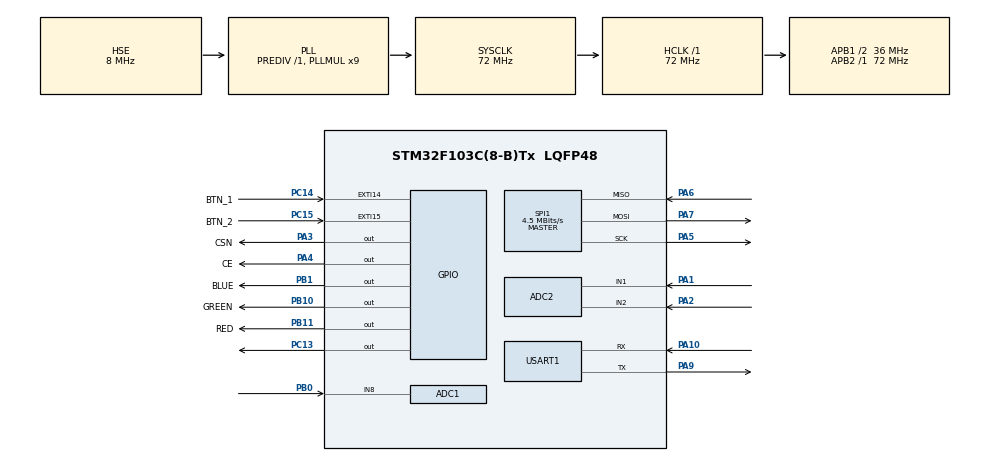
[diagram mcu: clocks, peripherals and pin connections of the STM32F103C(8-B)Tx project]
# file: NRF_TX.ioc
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ADC1.Channel-0\#ChannelRegularConversion=ADC_CHANNEL_8
ADC1.ContinuousConvMode=ENABLE
ADC1.NbrOfConversionFlag=1
ADC1.Rank-0\#ChannelRegularConversion=1
ADC1.SamplingTime-0\#ChannelRegularConversion=ADC_SAMPLETIME_239CYCLES_5
ADC1.master=1
ADC2.Channel-3\#ChannelRegularConversion=ADC_CHANNEL_1
ADC2.ContinuousConvMode=ENABLE
ADC2.NbrOfConversionFlag=1
ADC2.Rank-3\#ChannelRegularConversion=1
ADC2.SamplingTime-3\#ChannelRegularConversion=ADC_SAMPLETIME_1CYCLE_5
Mcu.Family=STM32F1
Mcu.Name=STM32F103C(8-B)Tx
Mcu.Package=LQFP48
NVIC.EXTI15_10_IRQn=true\:0\:0\:false\:false\:true\:true\:true\:true
NVIC.PriorityGroup=NVIC_PRIORITYGROUP_4
PA1.Signal=ADCx_IN1
PA10.Mode=Asynchronous
PA10.Signal=USART1_RX
PA13.Mode=Serial_Wire
PA13.Signal=SYS_JTMS-SWDIO
PA14.Mode=Serial_Wire
PA14.Signal=SYS_JTCK-SWCLK
PA2.Signal=ADCx_IN2
PA3.GPIO_Label=CSN
PA3.Signal=GPIO_Output
PA4.GPIO_Label=CE
PA4.Signal=GPIO_Output
PA5.Mode=Full_Duplex_Master
PA5.Signal=SPI1_SCK
PA6.Mode=Full_Duplex_Master
PA6.Signal=SPI1_MISO
PA7.Mode=Full_Duplex_Master
PA7.Signal=SPI1_MOSI
PA9.Mode=Asynchronous
PA9.Signal=USART1_TX
PB0.Signal=ADCx_IN8
PB1.GPIO_Label=BLUE
PB1.Signal=GPIO_Output
PB10.GPIO_Label=GREEN
PB10.Signal=GPIO_Output
PB11.GPIO_Label=RED
PB11.Signal=GPIO_Output
PC13-TAMPER-RTC.PinState=GPIO_PIN_SET
PC13-TAMPER-RTC.Signal=GPIO_Output
PC14-OSC32_IN.GPIO_Label=BTN_1
PC14-OSC32_IN.GPIO_PuPd=GPIO_PULLDOWN
PC14-OSC32_IN.Signal=GPXTI14
PC15-OSC32_OUT.GPIO_Label=BTN_2
PC15-OSC32_OUT.GPIO_PuPd=GPIO_PULLDOWN
PC15-OSC32_OUT.Signal=GPXTI15
PD0-OSC_IN.Mode=HSE-External-Oscillator
PD0-OSC_IN.Signal=RCC_OSC_IN
PD1-OSC_OUT.Mode=HSE-External-Oscillator
PD1-OSC_OUT.Signal=RCC_OSC_OUT
ProjectManager.HeapSize=0x200
ProjectManager.StackSize=0x400
ProjectManager.TargetToolchain=STM32CubeIDE
RCC.ADCPresc=RCC_ADCPCLK2_DIV6
RCC.AHBFreq_Value=72000000
RCC.APB1CLKDivider=RCC_HCLK_DIV2
RCC.APB1Freq_Value=36000000
RCC.APB1TimFreq_Value=72000000
RCC.APB2Freq_Value=72000000
RCC.APB2TimFreq_Value=72000000
RCC.HCLKFreq_Value=72000000
RCC.PLLMUL=RCC_PLL_MUL9
RCC.PLLSourceVirtual=RCC_PLLSOURCE_HSE
RCC.SYSCLKFreq_VALUE=72000000
RCC.SYSCLKSource=RCC_SYSCLKSOURCE_PLLCLK
RCC.USBFreq_Value=72000000
SH.ADCx_IN1.0=ADC2_IN1,IN1
SH.ADCx_IN2.0=ADC2_IN2,IN2
SH.ADCx_IN8.0=ADC1_IN8,IN8
SPI1.BaudRatePrescaler=SPI_BAUDRATEPRESCALER_16
SPI1.CalculateBaudRate=4.5 MBits/s
SPI1.Direction=SPI_DIRECTION_2LINES
SPI1.Mode=SPI_MODE_MASTER
SPI1.VirtualType=VM_MASTER
USART1.VirtualMode=VM_ASYNC
board=custom

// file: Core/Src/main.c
/* USER CODE BEGIN Header */
/**
  ******************************************************************************
  * @file           : main.c
  * @brief          : Main program body
  ******************************************************************************
  * @attention
  *
  * Copyright (c) 2023 STMicroelectronics.
  * All rights reserved.
  *
  * This software is licensed under terms that can be found in the LICENSE file
  * in the root directory of this software component.
  * If no LICENSE file comes with this software, it is provided AS-IS.
  *
  ******************************************************************************
  */
/* USER CODE END Header */
#include "main.h"

/* USER CODE BEGIN Includes */
#include "NRF24L01.h"
#include "string.h"
#include <stdio.h>
/* USER CODE END Includes */

ADC_HandleTypeDef hadc1;
ADC_HandleTypeDef hadc2;

SPI_HandleTypeDef hspi1;

UART_HandleTypeDef huart1;

/* USER CODE BEGIN PV */

unsigned short joystick_x;

char BT_Data[32] = " ";

unsigned short JOY_X, JOY_Y;
ADC_ChannelConfTypeDef sConfigPrivate = {0};

/* USER CODE END PV */

void SystemClock_Config(void);
static void MX_GPIO_Init(void);
static void MX_SPI1_Init(void);
static void MX_ADC1_Init(void);
static void MX_USART1_UART_Init(void);
static void MX_ADC2_Init(void);

/* USER CODE BEGIN 0 */

void Read_ADC()
{
	sConfigPrivate.Rank = ADC_REGULAR_RANK_1;
	sConfigPrivate.SamplingTime = ADC_SAMPLETIME_1CYCLE_5;

	sConfigPrivate.Channel = ADC_CHANNEL_1;
	HAL_ADC_ConfigChannel(&hadc2, &sConfigPrivate);
	HAL_ADC_Start(&hadc2);
	HAL_ADC_PollForConversion(&hadc2, 100);
	JOY_X = HAL_ADC_GetValue(&hadc2);
	HAL_ADC_Stop(&hadc2);

	sConfigPrivate.Channel = ADC_CHANNEL_2;
	HAL_ADC_ConfigChannel(&hadc2, &sConfigPrivate);
	HAL_ADC_Start(&hadc2);
	HAL_ADC_PollForConversion(&hadc2, 100);
	JOY_Y = HAL_ADC_GetValue(&hadc2);
	HAL_ADC_Stop(&hadc2);

	//sprintf(BT_Data, "\f %d \n %d \n\r",JOY_X,JOY_Y);
	//HAL_UART_Transmit(&huart1, (uint8_t*)BT_Data, sizeof(BT_Data), 100);
}

void HAL_GPIO_EXTI_Callback(uint16_t GPIO_Pin)
{
	if(GPIO_Pin == BTN_1_Pin)
	{
		HAL_GPIO_WritePin(RED_GPIO_Port, RED_Pin, GPIO_PIN_RESET);
		HAL_GPIO_WritePin(GREEN_GPIO_Port, GREEN_Pin, GPIO_PIN_SET);

	}

	if(GPIO_Pin == BTN_2_Pin)
	{
		HAL_GPIO_WritePin(GREEN_GPIO_Port, GREEN_Pin, GPIO_PIN_RESET);
		HAL_GPIO_WritePin(RED_GPIO_Port, RED_Pin, GPIO_PIN_SET);

	}

}

//uint8_t RxAddress[] = {0x00,0xDD,0xCC,0xBB,0xAA};
//uint8_t RxData[32];

uint8_t data[50];
uint8_t TxAddress[] = {0xEE,0xDD,0xCC,0xBB,0xAA};
uint8_t TxData[] = "Merhaba,12345678\n";
uint8_t YasarData[] = "merhabayasardata\n";

//************************************************//
uint8_t PotData[10];
uint16_t adcValue = 250;

void adctodata()
{
	//sprintf(PotData, "%d", adcValue);

	memcpy(PotData, &adcValue, sizeof(adcValue));
}

//***********************************************//

/* USER CODE END 0 */

int main(void)
{

  /* MCU Configuration--------------------------------------------------------*/

  /* Reset of all peripherals, Initializes the Flash interface and the Systick. */
  HAL_Init();

  /* Configure the system clock */
  SystemClock_Config();

  /* Initialize all configured peripherals */
  MX_GPIO_Init();
  MX_SPI1_Init();
  MX_ADC1_Init();
  MX_USART1_UART_Init();
  MX_ADC2_Init();
  /* USER CODE BEGIN 2 */
//************************************************************************************************//

  	HAL_ADC_Start(&hadc1);
  	HAL_ADC_Start(&hadc2);
	NRF24_Init();
	//NRF24_RxMode(RxAddress, 10);
	NRF24_TxMode(TxAddress, 10);
	//NRF24_ReadAll(data);

//***********************************************************************************************//

  /* USER CODE END 2 */

  /* Infinite loop */
  while (1)
  {

    /* USER CODE BEGIN 3 */
//***************************************************************************************************//
/*
	  	  if (NRF24_Transmit(TxData) == 1)
	  	  {
	  		  HAL_GPIO_TogglePin(GPIOC, GPIO_PIN_13);
	  	  }

	  	  HAL_Delay(1000);
*/
//****************************************************************************************************//

	  //NRF24_Transmit(TxData, 32);
	  //HAL_Delay(100);
	  //NRF24_Transmit(YasarData, 32);
	  //HAL_Delay(100);

	  //NRF24_Transmit((uint8_t*)TxBuffer, sprintf(TxBuffer, "led is on %d\n",sayac1));
	  //HAL_Delay(1000);
	  //memset(data, 0, sizeof(data));
	  //sayac1++;

/*
	  adctodata();

	  NRF24_Transmit(PotData, sizeof(PotData));
	  HAL_GPIO_TogglePin(GPIOB, GREEN_Pin);
	  //memset(PotData, 0 , sizeof(PotData));

	  adcValue++;

	  if(adcValue >= 1249)
	  {
		  adcValue = 250;
	  }
	  HAL_Delay(3);

*/

	  /*
	   * ANA BLUEPILL KODU
	   */

	  if(HAL_ADC_PollForConversion(&hadc1, 100) == HAL_OK)
	  {
		 joystick_x = HAL_ADC_GetValue(&hadc1);	// joystickden gelen verileri okuma **unsigned short**

		 Read_ADC();

		 sprintf(BT_Data, "%d,%d,%d", joystick_x, JOY_X, JOY_Y);
		 //    "\f %d \n\r"
		 //sprintf(BT_Data, "%d", joystick_x); //sprintf ile char dizisine atma **VAR1**
		 //memcpy(PotData, &joystick_x, sizeof(joystick_x)); // memcpy ile PotData dizisine atma **VAR2**

		 NRF24_Transmit((uint8_t*)BT_Data, sizeof(BT_Data)); // uint8_t ye çevirip spi ile gönderme
		 //HAL_Delay(1000);
		 //NRF24_Transmit(PotData, sizeof(PotData)); //
		 //HAL_UART_Transmit(&huart1, (uint8_t*)BT_Data, strlen(BT_Data), 1000);
		 HAL_Delay(3);

	  }

  }
  /* USER CODE END 3 */
}

void SystemClock_Config(void)
{
  RCC_OscInitTypeDef RCC_OscInitStruct = {0};
  RCC_ClkInitTypeDef RCC_ClkInitStruct = {0};
  RCC_PeriphCLKInitTypeDef PeriphClkInit = {0};

  /** Initializes the RCC Oscillators according to the specified parameters
  * in the RCC_OscInitTypeDef structure.
  */
  RCC_OscInitStruct.OscillatorType = RCC_OSCILLATORTYPE_HSE;
  RCC_OscInitStruct.HSEState = RCC_HSE_ON;
  RCC_OscInitStruct.HSEPredivValue = RCC_HSE_PREDIV_DIV1;
  RCC_OscInitStruct.HSIState = RCC_HSI_ON;
  RCC_OscInitStruct.PLL.PLLState = RCC_PLL_ON;
  RCC_OscInitStruct.PLL.PLLSource = RCC_PLLSOURCE_HSE;
  RCC_OscInitStruct.PLL.PLLMUL = RCC_PLL_MUL9;
  if (HAL_RCC_OscConfig(&RCC_OscInitStruct) != HAL_OK)
  {
    Error_Handler();
  }

  /** Initializes the CPU, AHB and APB buses clocks
  */
  RCC_ClkInitStruct.ClockType = RCC_CLOCKTYPE_HCLK|RCC_CLOCKTYPE_SYSCLK
                              |RCC_CLOCKTYPE_PCLK1|RCC_CLOCKTYPE_PCLK2;
  RCC_ClkInitStruct.SYSCLKSource = RCC_SYSCLKSOURCE_PLLCLK;
  RCC_ClkInitStruct.AHBCLKDivider = RCC_SYSCLK_DIV1;
  RCC_ClkInitStruct.APB1CLKDivider = RCC_HCLK_DIV2;
  RCC_ClkInitStruct.APB2CLKDivider = RCC_HCLK_DIV1;

  if (HAL_RCC_ClockConfig(&RCC_ClkInitStruct, FLASH_LATENCY_2) != HAL_OK)
  {
    Error_Handler();
  }
  PeriphClkInit.PeriphClockSelection = RCC_PERIPHCLK_ADC;
  PeriphClkInit.AdcClockSelection = RCC_ADCPCLK2_DIV6;
  if (HAL_RCCEx_PeriphCLKConfig(&PeriphClkInit) != HAL_OK)
  {
    Error_Handler();
  }
}

static void MX_ADC1_Init(void)
{

  ADC_ChannelConfTypeDef sConfig = {0};

  /** Common config
  */
  hadc1.Instance = ADC1;
  hadc1.Init.ScanConvMode = ADC_SCAN_DISABLE;
  hadc1.Init.ContinuousConvMode = ENABLE;
  hadc1.Init.DiscontinuousConvMode = DISABLE;
  hadc1.Init.ExternalTrigConv = ADC_SOFTWARE_START;
  hadc1.Init.DataAlign = ADC_DATAALIGN_RIGHT;
  hadc1.Init.NbrOfConversion = 1;
  if (HAL_ADC_Init(&hadc1) != HAL_OK)
  {
    Error_Handler();
  }

  /** Configure Regular Channel
  */
  sConfig.Channel = ADC_CHANNEL_8;
  sConfig.Rank = ADC_REGULAR_RANK_1;
  sConfig.SamplingTime = ADC_SAMPLETIME_239CYCLES_5;
  if (HAL_ADC_ConfigChannel(&hadc1, &sConfig) != HAL_OK)
  {
    Error_Handler();
  }

}

static void MX_ADC2_Init(void)
{

  ADC_ChannelConfTypeDef sConfig = {0};

  /** Common config
  */
  hadc2.Instance = ADC2;
  hadc2.Init.ScanConvMode = ADC_SCAN_DISABLE;
  hadc2.Init.ContinuousConvMode = ENABLE;
  hadc2.Init.DiscontinuousConvMode = DISABLE;
  hadc2.Init.ExternalTrigConv = ADC_SOFTWARE_START;
  hadc2.Init.DataAlign = ADC_DATAALIGN_RIGHT;
  hadc2.Init.NbrOfConversion = 1;
  if (HAL_ADC_Init(&hadc2) != HAL_OK)
  {
    Error_Handler();
  }

  /** Configure Regular Channel
  */
  sConfig.Channel = ADC_CHANNEL_1;
  sConfig.Rank = ADC_REGULAR_RANK_1;
  sConfig.SamplingTime = ADC_SAMPLETIME_1CYCLE_5;
  if (HAL_ADC_ConfigChannel(&hadc2, &sConfig) != HAL_OK)
  {
    Error_Handler();
  }

}

static void MX_SPI1_Init(void)
{

  /* SPI1 parameter configuration*/
  hspi1.Instance = SPI1;
  hspi1.Init.Mode = SPI_MODE_MASTER;
  hspi1.Init.Direction = SPI_DIRECTION_2LINES;
  hspi1.Init.DataSize = SPI_DATASIZE_8BIT;
  hspi1.Init.CLKPolarity = SPI_POLARITY_LOW;
  hspi1.Init.CLKPhase = SPI_PHASE_1EDGE;
  hspi1.Init.NSS = SPI_NSS_SOFT;
  hspi1.Init.BaudRatePrescaler = SPI_BAUDRATEPRESCALER_16;
  hspi1.Init.FirstBit = SPI_FIRSTBIT_MSB;
  hspi1.Init.TIMode = SPI_TIMODE_DISABLE;
  hspi1.Init.CRCCalculation = SPI_CRCCALCULATION_DISABLE;
  hspi1.Init.CRCPolynomial = 10;
  if (HAL_SPI_Init(&hspi1) != HAL_OK)
  {
    Error_Handler();
  }

}

static void MX_USART1_UART_Init(void)
{

  huart1.Instance = USART1;
  huart1.Init.BaudRate = 115200;
  huart1.Init.WordLength = UART_WORDLENGTH_8B;
  huart1.Init.StopBits = UART_STOPBITS_1;
  huart1.Init.Parity = UART_PARITY_NONE;
  huart1.Init.Mode = UART_MODE_TX_RX;
  huart1.Init.HwFlowCtl = UART_HWCONTROL_NONE;
  huart1.Init.OverSampling = UART_OVERSAMPLING_16;
  if (HAL_UART_Init(&huart1) != HAL_OK)
  {
    Error_Handler();
  }

}

static void MX_GPIO_Init(void)
{
  GPIO_InitTypeDef GPIO_InitStruct = {0};

  /* GPIO Ports Clock Enable */
  __HAL_RCC_GPIOC_CLK_ENABLE();
  __HAL_RCC_GPIOD_CLK_ENABLE();
  __HAL_RCC_GPIOA_CLK_ENABLE();
  __HAL_RCC_GPIOB_CLK_ENABLE();

  /*Configure GPIO pin Output Level */
  HAL_GPIO_WritePin(GPIOC, GPIO_PIN_13, GPIO_PIN_SET);

  /*Configure GPIO pin Output Level */
  HAL_GPIO_WritePin(GPIOA, CSN_Pin|CE_Pin, GPIO_PIN_RESET);

  /*Configure GPIO pin Output Level */
  HAL_GPIO_WritePin(GPIOB, BLUE_Pin|GREEN_Pin|RED_Pin, GPIO_PIN_RESET);

  /*Configure GPIO pin : PC13 */
  GPIO_InitStruct.Pin = GPIO_PIN_13;
  GPIO_InitStruct.Mode = GPIO_MODE_OUTPUT_PP;
  GPIO_InitStruct.Pull = GPIO_NOPULL;
  GPIO_InitStruct.Speed = GPIO_SPEED_FREQ_LOW;
  HAL_GPIO_Init(GPIOC, &GPIO_InitStruct);

  /*Configure GPIO pins : BTN_1_Pin BTN_2_Pin */
  GPIO_InitStruct.Pin = BTN_1_Pin|BTN_2_Pin;
  GPIO_InitStruct.Mode = GPIO_MODE_IT_RISING;
  GPIO_InitStruct.Pull = GPIO_PULLDOWN;
  HAL_GPIO_Init(GPIOC, &GPIO_InitStruct);

  /*Configure GPIO pins : CSN_Pin CE_Pin */
  GPIO_InitStruct.Pin = CSN_Pin|CE_Pin;
  GPIO_InitStruct.Mode = GPIO_MODE_OUTPUT_PP;
  GPIO_InitStruct.Pull = GPIO_NOPULL;
  GPIO_InitStruct.Speed = GPIO_SPEED_FREQ_LOW;
  HAL_GPIO_Init(GPIOA, &GPIO_InitStruct);

  /*Configure GPIO pins : BLUE_Pin GREEN_Pin RED_Pin */
  GPIO_InitStruct.Pin = BLUE_Pin|GREEN_Pin|RED_Pin;
  GPIO_InitStruct.Mode = GPIO_MODE_OUTPUT_PP;
  GPIO_InitStruct.Pull = GPIO_NOPULL;
  GPIO_InitStruct.Speed = GPIO_SPEED_FREQ_LOW;
  HAL_GPIO_Init(GPIOB, &GPIO_InitStruct);

  /* EXTI interrupt init*/
  HAL_NVIC_SetPriority(EXTI15_10_IRQn, 0, 0);
  HAL_NVIC_EnableIRQ(EXTI15_10_IRQn);

}

void Error_Handler(void)
{
  __disable_irq();
  while (1)
  {
  }
}
